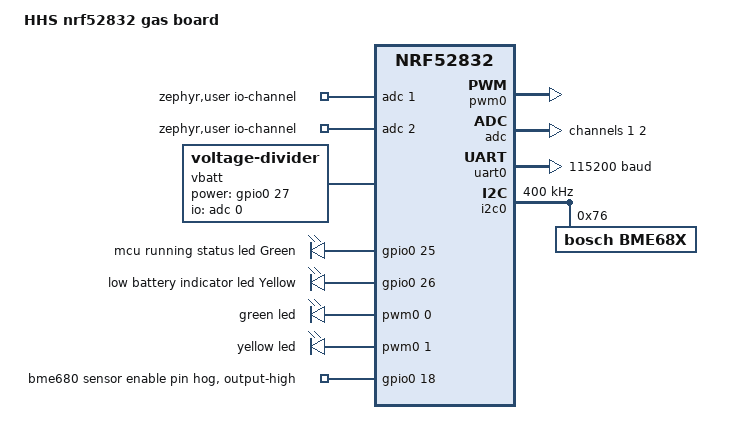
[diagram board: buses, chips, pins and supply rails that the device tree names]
/**
* @file hhs_nrf52832.dts
* @brief
* @author bradkim06
* @version
* @date 2023-10-17
*/

/dts-v1/;
#include <nordic/nrf52832_qfaa.dtsi>
#include "hhs_nrf52832-pinctrl.dtsi"

/ {
	model = "HHS nrf52832 gas board";
	compatible = "nordic,hhs_nrf52832";

	zephyr,user {
		io-channels = <&adc 1>, <&adc 2>;
	};

	chosen {
		zephyr,console = &uart0;
		zephyr,shell-uart = &uart0;
		zephyr,uart-mcumgr = &uart0;
		zephyr,bt-mon-uart = &uart0;
		zephyr,bt-c2h-uart = &uart0;
		zephyr,sram = &sram0;
		zephyr,flash = &flash0;
		zephyr,code-partition = &slot0_partition;
	};

	vbatt {
		compatible = "voltage-divider";
		status = "okay";
		io-channels = <&adc 0>;
		output-ohms = <180000>;
		full-ohms = <(1500000 + 180000)>;
		power-gpios = <&gpio0 27 GPIO_ACTIVE_HIGH>;
	};

	leds {
		compatible = "gpio-leds";
        status = "okay";

		led0: led_0 {
			gpios = <&gpio0 25 GPIO_ACTIVE_HIGH>;
			label = "mcu running status led Green";
		};
		led1: led_1 {
			gpios = <&gpio0 26 GPIO_ACTIVE_HIGH>;
			label = "low battery indicator led Yellow";
		};
	};

	pwmleds {
		compatible = "pwm-leds";
        status = "okay";
        label = "status led";

		pwm_led0: pwm_led_0 {
			pwms = <&pwm0 0 PWM_MSEC(20) PWM_POLARITY_NORMAL>;
			label = "green led";
		};
		pwm_led1: pwm_led_1 {
			pwms = <&pwm0 1 PWM_MSEC(20) PWM_POLARITY_NORMAL>;
			label = "yellow led";
		};
	};

	/* These aliases are provided for compatibility with samples */
	aliases {
		watchdog0 = &wdt0;
		led0 = &led0;
		led1 = &led1;
        greenled = &pwm_led0;
        yellowled = &pwm_led1;
	};
};

&pwm0 {
	status = "okay";
	pinctrl-0 = <&pwm0_default>;
	pinctrl-1 = <&pwm0_sleep>;
	pinctrl-names = "default", "sleep";
};

&nfct {
	status = "disabled";
};

&adc {
	status = "okay";
	#address-cells = <1>;
	#size-cells = <0>;

	/* datasheet value different, ideal 90uA +-20
	 *
	 * 1% current 5uA -> sensor vout = (Curr * Rl) * (1 + R1 / R2) =
	 * Max Output Voltage(25% oxygen) = (4.85*25*0.001*0.001*100)*(1+5100/100) = 630mV
	 * ADC Reference VDD 1/4 = 750mV
	 */
	o2_mon: channel@1 {
		reg = <1>;
		zephyr,gain = "ADC_GAIN_1";
		zephyr,reference = "ADC_REF_VDD_1_4";
		zephyr,vref-mv = <750>;
		zephyr,acquisition-time = <ADC_ACQ_TIME_DEFAULT>;
		zephyr,input-positive = <NRF_SAADC_AIN1>; /* P0.03 */
		zephyr,resolution = <14>;
		zephyr,oversampling = <8>;
	};

	gas_mon: channel@2 {
		reg = <2>;
		zephyr,gain = "ADC_GAIN_1";
		zephyr,reference = "ADC_REF_VDD_1_4";
		zephyr,vref-mv = <750>;
		zephyr,acquisition-time = <ADC_ACQ_TIME_DEFAULT>;
		zephyr,input-positive = <NRF_SAADC_AIN2>; /* P0.04 */
		zephyr,resolution = <14>;
		zephyr,oversampling = <8>;
	 };
};

&gpio0 {
	status = "okay";
	node-1 {
		gpio-hog;
		gpios = <18 GPIO_ACTIVE_HIGH>;
		output-high;
		line-name = "bme680 sensor enable pin";
	};
};

serial: &uart0 {
	status = "okay";
	compatible = "nordic,nrf-uarte";
	current-speed = <115200>;
	pinctrl-0 = <&uart0_default>;
	pinctrl-1 = <&uart0_sleep>;
	pinctrl-names = "default", "sleep";
};

i2c: &i2c0 {
	compatible = "nordic,nrf-twim";
	status = "okay";
	clock-frequency = <I2C_BITRATE_FAST>;

	pinctrl-0 = <&i2c0_default>;
	pinctrl-1 = <&i2c0_sleep>;
	pinctrl-names = "default", "sleep";

	bme68x:bme68x@76 {
		compatible = "bosch,bme68x";
		status = "okay";
		friendly-name = "bosch environment sensor";
		reg = <0x76>;
	};
};

&flash0 {
	partitions {
		compatible = "fixed-partitions";
		#address-cells = <1>;
		#size-cells = <1>;

		boot_partition: partition@0 {
			label = "mcuboot";
			reg = <0x00000000 0xc000>;
		};
		slot0_partition: partition@c000 {
			label = "image-0";
			reg = <0x0000C000 0x37000>;
		};
		slot1_partition: partition@43000 {
			label = "image-1";
			reg = <0x00043000 0x37000>;
		};
		storage_partition: partition@7a000 {
			label = "storage";
			reg = <0x0007a000 0x00006000>;
		};
	};
};
